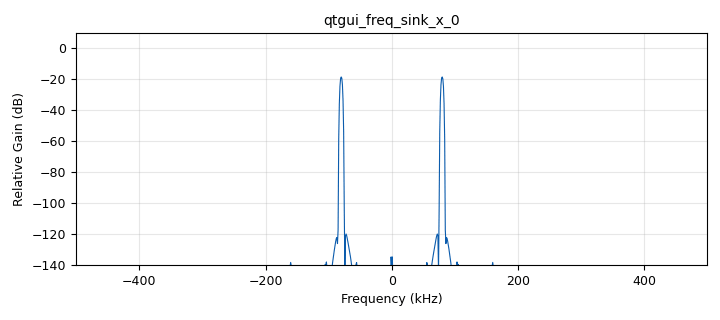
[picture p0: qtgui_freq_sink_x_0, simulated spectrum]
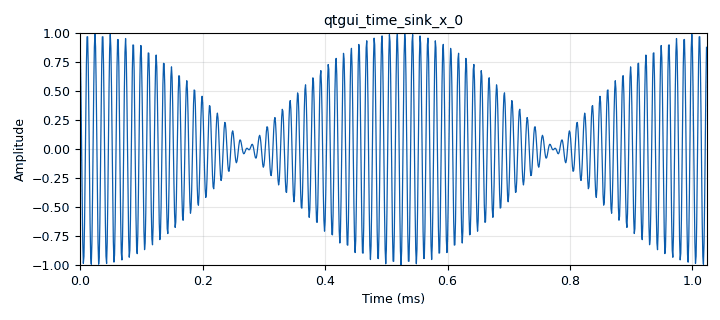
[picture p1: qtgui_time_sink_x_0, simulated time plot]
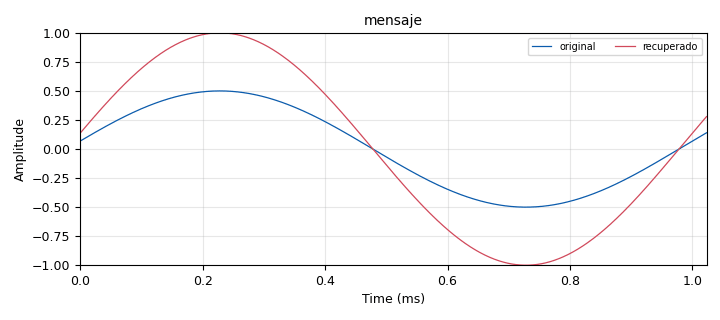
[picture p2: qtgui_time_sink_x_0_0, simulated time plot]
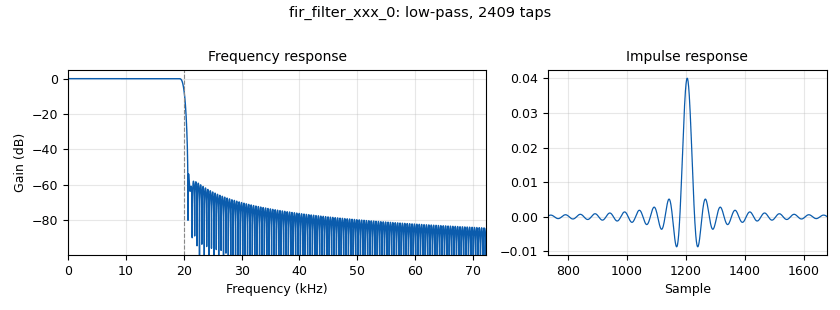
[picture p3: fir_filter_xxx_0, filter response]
options:
  parameters:
    generate_options: qt_gui
    id: top_block
    output_language: python
  states: {}

blocks:
- name: carrier
  id: variable_qtgui_range
  parameters:
    label: carrier
    outputmsgname: value
    showports: 'False'
    start: 80e3
    step: '1'
    stop: samp_rate/2
    value: 80e3
  states: {}
- name: delay
  id: variable_qtgui_range
  parameters:
    label: delay
    outputmsgname: value
    showports: 'False'
    start: '-1000'
    step: '1'
    stop: '1000'
    value: '0'
  states: {}
- name: freqerror
  id: variable_qtgui_range
  parameters:
    label: freqerror
    outputmsgname: value
    showports: 'False'
    start: '-100'
    step: '1'
    stop: '100'
    value: '0'
  states: {}
- name: msj
  id: variable_qtgui_range
  parameters:
    label: msj
    outputmsgname: value
    showports: 'False'
    start: '0'
    step: '1'
    stop: 20e3
    value: '1000'
  states: {}
- name: samp_rate
  id: variable
  parameters:
    value: 1e6
  states: {}
- name: taps
  id: variable_low_pass_filter_taps
  parameters:
    cutoff_freq: 20e3
    gain: '1.0'
    samp_rate: samp_rate
    width: 1e3
    win: window.WIN_HAMMING
  states: {}
- name: analog_sig_source_x_0
  id: analog_sig_source_x
  parameters:
    amp: '1'
    comment: carrier
    freq: carrier
    offset: '0'
    phase: '0'
    samp_rate: samp_rate
    type: float
    waveform: analog.GR_COS_WAVE
  states: {}
- name: analog_sig_source_x_0_0
  id: analog_sig_source_x
  parameters:
    amp: '1'
    comment: carrier
    freq: carrier+freqerror
    offset: '0'
    phase: '0'
    samp_rate: samp_rate
    type: float
    waveform: analog.GR_COS_WAVE
  states: {}
- name: analog_sig_source_x_1
  id: analog_sig_source_x
  parameters:
    amp: '1'
    comment: mensaje
    freq: msj
    offset: '0'
    phase: '0'
    samp_rate: samp_rate
    type: float
    waveform: analog.GR_COS_WAVE
  states: {}
- name: audio_sink_0
  id: audio_sink
  parameters:
    samp_rate: '32000'
  states: {state: disabled}
- name: blocks_delay_0
  id: blocks_delay
  parameters:
    delay: int(len(taps)/2)
    type: float
  states: {}
- name: blocks_delay_0_0
  id: blocks_delay
  parameters:
    comment: |-
      representa la diferencia de fase entre
      la portadora del tx y la del rx
    delay: int(delay)
    type: float
  states: {}
- name: blocks_multiply_xx_0
  id: blocks_multiply_xx
  parameters:
    comment: salida del Tx
    type: float
  states: {}
- name: blocks_multiply_xx_0_0
  id: blocks_multiply_xx
  parameters:
    type: float
  states: {}
- name: blocks_null_sink_0
  id: blocks_null_sink
  parameters:
    type: float
  states: {}
- name: blocks_throttle_0
  id: blocks_throttle
  parameters:
    samples_per_second: samp_rate
    type: float
  states: {}
- name: fir_filter_xxx_0
  id: fir_filter_xxx
  parameters:
    decim: '1'
    taps: taps
    type: fff
  states: {}
- name: qtgui_freq_sink_x_0
  id: qtgui_freq_sink_x
  parameters:
    bw: samp_rate
    fc: '0'
    fftsize: '1024'
    showports: 'True'
    type: float
  states: {}
- name: qtgui_time_sink_x_0
  id: qtgui_time_sink_x
  parameters:
    label1: ''
    size: '1024'
    srate: samp_rate
    type: float
  states: {}
- name: qtgui_time_sink_x_0_0
  id: qtgui_time_sink_x
  parameters:
    label1: original
    label2: recuperado
    name: mensaje
    nconnections: '2'
    size: '1024'
    srate: samp_rate
    type: float
  states: {}
- name: rational_resampler_xxx_0
  id: rational_resampler_xxx
  parameters:
    decim: '125'
    interp: '4'
    type: fff
  states: {}

connections:
- [analog_sig_source_x_0, '0', blocks_multiply_xx_0, '0']
- [analog_sig_source_x_0_0, '0', blocks_delay_0_0, '0']
- [analog_sig_source_x_1, '0', blocks_delay_0, '0']
- [analog_sig_source_x_1, '0', blocks_multiply_xx_0, '1']
- [blocks_delay_0, '0', qtgui_time_sink_x_0_0, '1']
- [blocks_delay_0_0, '0', blocks_multiply_xx_0_0, '1']
- [blocks_multiply_xx_0, '0', blocks_throttle_0, '0']
- [blocks_multiply_xx_0, '0', qtgui_freq_sink_x_0, '0']
- [blocks_multiply_xx_0_0, '0', fir_filter_xxx_0, '0']
- [blocks_throttle_0, '0', blocks_multiply_xx_0_0, '0']
- [blocks_throttle_0, '0', qtgui_time_sink_x_0, '0']
- [fir_filter_xxx_0, '0', qtgui_time_sink_x_0_0, '0']
- [fir_filter_xxx_0, '0', rational_resampler_xxx_0, '0']
- [rational_resampler_xxx_0, '0', audio_sink_0, '0']
- [rational_resampler_xxx_0, '0', blocks_null_sink_0, '0']

metadata:
  file_format: 1
  grc_version: 3.10.4.0
